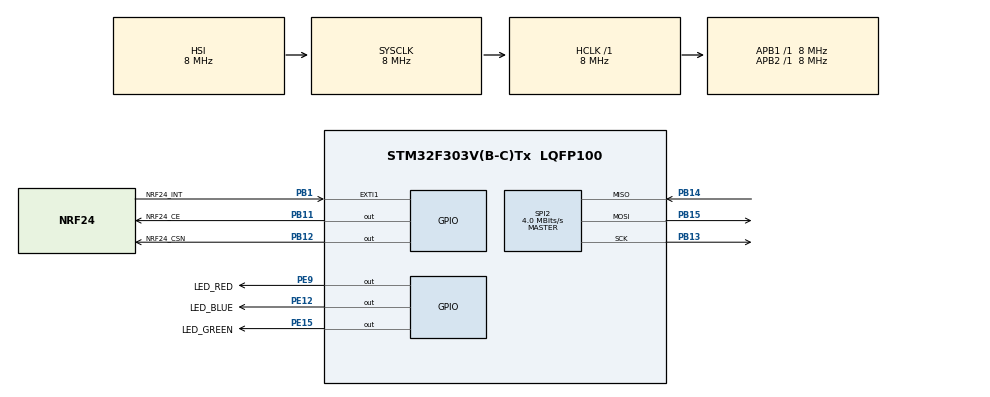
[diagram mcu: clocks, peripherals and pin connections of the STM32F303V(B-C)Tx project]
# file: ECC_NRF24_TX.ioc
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Mcu.Family=STM32F3
Mcu.Name=STM32F303V(B-C)Tx
Mcu.Package=LQFP100
NVIC.PriorityGroup=NVIC_PRIORITYGROUP_4
PB1.GPIO_Label=NRF24_INT
PB1.GPIO_PuPd=GPIO_PULLUP
PB1.Signal=GPXTI1
PB11.GPIO_Label=NRF24_CE
PB11.GPIO_PuPd=GPIO_PULLUP
PB11.GPIO_Speed=GPIO_SPEED_FREQ_HIGH
PB11.PinState=GPIO_PIN_SET
PB11.Signal=GPIO_Output
PB12.GPIO_Label=NRF24_CSN
PB12.GPIO_PuPd=GPIO_PULLUP
PB12.GPIO_Speed=GPIO_SPEED_FREQ_HIGH
PB12.PinState=GPIO_PIN_SET
PB12.Signal=GPIO_Output
PB13.Mode=Full_Duplex_Master
PB13.Signal=SPI2_SCK
PB14.Mode=Full_Duplex_Master
PB14.Signal=SPI2_MISO
PB15.Mode=Full_Duplex_Master
PB15.Signal=SPI2_MOSI
PE12.GPIO_Label=LED_BLUE
PE12.Signal=GPIO_Output
PE15.GPIO_Label=LED_GREEN
PE15.Signal=GPIO_Output
PE9.GPIO_Label=LED_RED
PE9.Signal=GPIO_Output
PF0-OSC_IN.Mode=HSE-External-Oscillator
PF0-OSC_IN.Signal=RCC_OSC_IN
PF1-OSC_OUT.Mode=HSE-External-Oscillator
PF1-OSC_OUT.Signal=RCC_OSC_OUT
ProjectManager.HeapSize=0x200
ProjectManager.StackSize=0x400
ProjectManager.TargetToolchain=SW4STM32
RCC.AHBFreq_Value=8000000
RCC.APB1Freq_Value=8000000
RCC.APB2Freq_Value=8000000
RCC.CortexFreq_Value=8000000
RCC.HSE_VALUE=8000000
RCC.HSI_VALUE=8000000
RCC.LSE_VALUE=32768
RCC.SYSCLKFreq_VALUE=8000000
SPI2.CalculateBaudRate=4.0 MBits/s
SPI2.Direction=SPI_DIRECTION_2LINES
SPI2.Mode=SPI_MODE_MASTER
SPI2.VirtualType=VM_MASTER
board=ECC_NRF24_TX

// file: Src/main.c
/**
  ******************************************************************************
  * File Name          : main.c
  * Description        : Main program body
  ******************************************************************************
  ** This notice applies to any and all portions of this file
  * that are not between comment pairs USER CODE BEGIN and
  * USER CODE END. Other portions of this file, whether
  * inserted by the user or by software development tools
  * are owned by their respective copyright owners.
  *
  * COPYRIGHT(c) 2017 STMicroelectronics
  *
  * Redistribution and use in source and binary forms, with or without modification,
  * are permitted provided that the following conditions are met:
  *   1. Redistributions of source code must retain the above copyright notice,
  *      this list of conditions and the following disclaimer.
  *   2. Redistributions in binary form must reproduce the above copyright notice,
  *      this list of conditions and the following disclaimer in the documentation
  *      and/or other materials provided with the distribution.
  *   3. Neither the name of STMicroelectronics nor the names of its contributors
  *      may be used to endorse or promote products derived from this software
  *      without specific prior written permission.
  *
  * THIS SOFTWARE IS PROVIDED BY THE COPYRIGHT HOLDERS AND CONTRIBUTORS "AS IS"
  * AND ANY EXPRESS OR IMPLIED WARRANTIES, INCLUDING, BUT NOT LIMITED TO, THE
  * IMPLIED WARRANTIES OF MERCHANTABILITY AND FITNESS FOR A PARTICULAR PURPOSE ARE
  * DISCLAIMED. IN NO EVENT SHALL THE COPYRIGHT HOLDER OR CONTRIBUTORS BE LIABLE
  * FOR ANY DIRECT, INDIRECT, INCIDENTAL, SPECIAL, EXEMPLARY, OR CONSEQUENTIAL
  * DAMAGES (INCLUDING, BUT NOT LIMITED TO, PROCUREMENT OF SUBSTITUTE GOODS OR
  * SERVICES; LOSS OF USE, DATA, OR PROFITS; OR BUSINESS INTERRUPTION) HOWEVER
  * CAUSED AND ON ANY THEORY OF LIABILITY, WHETHER IN CONTRACT, STRICT LIABILITY,
  * OR TORT (INCLUDING NEGLIGENCE OR OTHERWISE) ARISING IN ANY WAY OUT OF THE USE
  * OF THIS SOFTWARE, EVEN IF ADVISED OF THE POSSIBILITY OF SUCH DAMAGE.
  *
  ******************************************************************************
  */
#include "main.h"
#include "stm32f3xx_hal.h"
#include <stdbool.h>
/* USER CODE BEGIN Includes */
#include "nrf24_hal.h"
#include "nrf24.h"
#include "nrf24_app.h"
/* USER CODE END Includes */

SPI_HandleTypeDef hspi2;

/* USER CODE BEGIN PV */
/* Private variables ---------------------------------------------------------*/
volatile bool new_data;
/* USER CODE END PV */

void SystemClock_Config(void);
static void MX_GPIO_Init(void);
static void MX_SPI2_Init(void);

/* USER CODE BEGIN PFP */
/* Private function prototypes -----------------------------------------------*/

/* USER CODE END PFP */

/* USER CODE BEGIN 0 */
volatile bool wait_data;
nrf24_scenario_t scenario;
nrf24_role_t role;

void tx_cbk_func(nRF24_pipe_number_t pipe, uint8_t *buffer, uint8_t length, nrf24_tx_result_t status)
{
	if(scenario == NRF24_APP_SCENARIO_BIDIR_PLD_ACK)
	{
		if((role == NRF24_APP_ROLE_PTX) || (role == NRF24_APP_ROLE_PRX))
		{
			// only checking when last transmission was sent or not, no frame involved
			if(status == NRF24_APP_OK)
			{
				HAL_GPIO_TogglePin(GPIOD,GPIO_PIN_15);
			}
			else
			{
				HAL_GPIO_TogglePin(GPIOD,GPIO_PIN_14);
			}
		}
	}
	else if(scenario == NRF24_APP_SCENARIO_UNIDIR_ACK)
	{
		if(role == NRF24_APP_ROLE_PTX)
		{
			// only checking when last transmission was sent or not, no frame involved
			if(status == NRF24_APP_OK)
			{
				HAL_GPIO_TogglePin(GPIOD,GPIO_PIN_15);
			}
			else
			{
				HAL_GPIO_TogglePin(GPIOD,GPIO_PIN_14);
			}
		}
		else if(role == NRF24_APP_ROLE_PRX)
		{
			// auto ack enabled, no transmissions
		}
	}
}

void rx_cbk_func(nRF24_pipe_number_t pipe, uint8_t *buffer, uint8_t length, nrf24_tx_result_t status)
{
	if(scenario == NRF24_APP_SCENARIO_BIDIR_PLD_ACK)
	{
		if(role == NRF24_APP_ROLE_PTX)
		{
			// Checking PRX answer
			uint8_t n;
			bool result = true;

    		for(n = 0 ; n < 32 ; n++)
    		{
    			if(buffer[n] != 0xFF)
    			{
    				result = false;
    				break;
    			}
    		}

    		wait_data = false;

    		if(result)
    		{
    			HAL_GPIO_TogglePin(GPIOD,GPIO_PIN_12);
    		}
    		else
    		{
    			HAL_GPIO_TogglePin(GPIOD,GPIO_PIN_13);
    		}
		}
		else if(role == NRF24_APP_ROLE_PRX)
		{
			uint8_t n;
			// We need to answer a request, status does not matter. Buffer is reused.
    		for(n = 0 ; n < 32 ; n++)
    			buffer[n] = 0xFF;
		}
	}
	else if(scenario == NRF24_APP_SCENARIO_UNIDIR_ACK)
	{
		if(role == NRF24_APP_ROLE_PTX)
		{
			// no data arriving from PRX
		}
		else
		{
			// process your frame here, no ack required and no answer, unidir
   			HAL_GPIO_TogglePin(GPIOD,GPIO_PIN_15);
		}
	}
}

void run(nrf24_scenario_t _scenario, nrf24_role_t _role)
{
	uint8_t n;
	uint8_t buffer[32];

	if(_scenario == NRF24_APP_SCENARIO_BIDIR_PLD_ACK)
	{
	    if(_role == NRF24_APP_ROLE_PTX)
	    {
	    	while(true)
	    	{
	    		uint32_t tmr_out;

	    		for(n = 0 ; n < 32 ; n++)
	    			buffer[n] = 0x00;

	    		wait_data = true;
	    		//data_value = data_value + 1; // expected value

	    		nrf24_app_tx_data(buffer, 32);

	    		tmr_out = 20;
	    		while(wait_data && tmr_out > 0)
	    		{
	    			HAL_Delay(1);
	    			tmr_out--;
	    		}

	    		if(tmr_out == 0)
				{
	    			HAL_GPIO_WritePin(GPIOD,GPIO_PIN_14,GPIO_PIN_SET);
	    			HAL_Delay(50);
					HAL_GPIO_WritePin(GPIOD,GPIO_PIN_14,GPIO_PIN_RESET);
					HAL_Delay(50);
					HAL_GPIO_WritePin(GPIOD,GPIO_PIN_14,GPIO_PIN_SET);
					HAL_Delay(50);
					HAL_GPIO_WritePin(GPIOD,GPIO_PIN_14,GPIO_PIN_RESET);
				}

	    		HAL_Delay(50);
	    	}
	    }
	    else
	    {
			while(true)
			{
				// not to do here, all work is handled in interrupted mode
			}
	    }
	}
	else if(_scenario == NRF24_APP_SCENARIO_UNIDIR_ACK)
	{
	    if(_role == NRF24_APP_ROLE_PTX)
	    {
	    	while(true)
	    	{
	    		for(n = 0 ; n < 32 ; n++)
	    			buffer[n] = 0x00;

	    		nrf24_app_tx_data(buffer, 32);

	    		HAL_Delay(30);
	    	}
	    }
	    else
	    {
			while(true)
			{
				// not to do here, all work is handled in interrupted mode
			}
	    }
	}

}
/* USER CODE END 0 */

int main(void)
{

  /* MCU Configuration----------------------------------------------------------*/

  /* Reset of all peripherals, Initializes the Flash interface and the Systick. */
  HAL_Init();

  /* Configure the system clock */
  SystemClock_Config();

  /* Initialize all configured peripherals */
  MX_GPIO_Init();
  MX_SPI2_Init();

  /* Infinite loop */
  while (1)
  {

  /* USER CODE BEGIN 3 */
	role = NRF24_APP_ROLE_PTX;
	scenario = NRF24_APP_SCENARIO_BIDIR_PLD_ACK;
	nrf24_app_init(scenario, role, tx_cbk_func, rx_cbk_func);
	run(scenario,role);
  }
  /* USER CODE END 3 */

}

/** System Clock Configuration
*/
void SystemClock_Config(void)
{

  RCC_OscInitTypeDef RCC_OscInitStruct;
  RCC_ClkInitTypeDef RCC_ClkInitStruct;

    /**Initializes the CPU, AHB and APB busses clocks
    */
  RCC_OscInitStruct.OscillatorType = RCC_OSCILLATORTYPE_HSI;
  RCC_OscInitStruct.HSIState = RCC_HSI_ON;
  RCC_OscInitStruct.HSICalibrationValue = 16;
  RCC_OscInitStruct.PLL.PLLState = RCC_PLL_NONE;
  if (HAL_RCC_OscConfig(&RCC_OscInitStruct) != HAL_OK)
  {
    _Error_Handler(__FILE__, __LINE__);
  }

    /**Initializes the CPU, AHB and APB busses clocks
    */
  RCC_ClkInitStruct.ClockType = RCC_CLOCKTYPE_HCLK|RCC_CLOCKTYPE_SYSCLK
                              |RCC_CLOCKTYPE_PCLK1|RCC_CLOCKTYPE_PCLK2;
  RCC_ClkInitStruct.SYSCLKSource = RCC_SYSCLKSOURCE_HSI;
  RCC_ClkInitStruct.AHBCLKDivider = RCC_SYSCLK_DIV1;
  RCC_ClkInitStruct.APB1CLKDivider = RCC_HCLK_DIV1;
  RCC_ClkInitStruct.APB2CLKDivider = RCC_HCLK_DIV1;

  if (HAL_RCC_ClockConfig(&RCC_ClkInitStruct, FLASH_LATENCY_0) != HAL_OK)
  {
    _Error_Handler(__FILE__, __LINE__);
  }

    /**Configure the Systick interrupt time
    */
  HAL_SYSTICK_Config(HAL_RCC_GetHCLKFreq()/1000);

    /**Configure the Systick
    */
  HAL_SYSTICK_CLKSourceConfig(SYSTICK_CLKSOURCE_HCLK);

  /* SysTick_IRQn interrupt configuration */
  HAL_NVIC_SetPriority(SysTick_IRQn, 0, 0);
}

/* SPI2 init function */
static void MX_SPI2_Init(void)
{

  hspi2.Instance = SPI2;
  hspi2.Init.Mode = SPI_MODE_MASTER;
  hspi2.Init.Direction = SPI_DIRECTION_2LINES;
  hspi2.Init.DataSize = SPI_DATASIZE_4BIT;
  hspi2.Init.CLKPolarity = SPI_POLARITY_LOW;
  hspi2.Init.CLKPhase = SPI_PHASE_1EDGE;
  hspi2.Init.NSS = SPI_NSS_SOFT;
  hspi2.Init.BaudRatePrescaler = SPI_BAUDRATEPRESCALER_2;
  hspi2.Init.FirstBit = SPI_FIRSTBIT_MSB;
  hspi2.Init.TIMode = SPI_TIMODE_DISABLE;
  hspi2.Init.CRCCalculation = SPI_CRCCALCULATION_DISABLE;
  hspi2.Init.CRCPolynomial = 7;
  hspi2.Init.CRCLength = SPI_CRC_LENGTH_DATASIZE;
  hspi2.Init.NSSPMode = SPI_NSS_PULSE_ENABLE;
  if (HAL_SPI_Init(&hspi2) != HAL_OK)
  {
    _Error_Handler(__FILE__, __LINE__);
  }

}

/** Configure pins as
        * Analog
        * Input
        * Output
        * EVENT_OUT
        * EXTI
*/
static void MX_GPIO_Init(void)
{

  GPIO_InitTypeDef GPIO_InitStruct;

  /* GPIO Ports Clock Enable */
  __HAL_RCC_GPIOF_CLK_ENABLE();
  __HAL_RCC_GPIOB_CLK_ENABLE();
  __HAL_RCC_GPIOE_CLK_ENABLE();

  /*Configure GPIO pin Output Level */
  HAL_GPIO_WritePin(GPIOE, LED_RED_Pin|LED_BLUE_Pin|LED_GREEN_Pin, GPIO_PIN_RESET);

  /*Configure GPIO pin Output Level */
  HAL_GPIO_WritePin(GPIOB, NRF24_CE_Pin|NRF24_CSN_Pin, GPIO_PIN_SET);

  /*Configure GPIO pin : NRF24_INT_Pin */
  GPIO_InitStruct.Pin = NRF24_INT_Pin;
  GPIO_InitStruct.Mode = GPIO_MODE_IT_RISING;
  GPIO_InitStruct.Pull = GPIO_PULLUP;
  HAL_GPIO_Init(NRF24_INT_GPIO_Port, &GPIO_InitStruct);

  /*Configure GPIO pins : LED_RED_Pin LED_BLUE_Pin LED_GREEN_Pin */
  GPIO_InitStruct.Pin = LED_RED_Pin|LED_BLUE_Pin|LED_GREEN_Pin;
  GPIO_InitStruct.Mode = GPIO_MODE_OUTPUT_PP;
  GPIO_InitStruct.Pull = GPIO_NOPULL;
  GPIO_InitStruct.Speed = GPIO_SPEED_FREQ_LOW;
  HAL_GPIO_Init(GPIOE, &GPIO_InitStruct);

  /*Configure GPIO pins : NRF24_CE_Pin NRF24_CSN_Pin */
  GPIO_InitStruct.Pin = NRF24_CE_Pin|NRF24_CSN_Pin;
  GPIO_InitStruct.Mode = GPIO_MODE_OUTPUT_PP;
  GPIO_InitStruct.Pull = GPIO_PULLUP;
  GPIO_InitStruct.Speed = GPIO_SPEED_FREQ_HIGH;
  HAL_GPIO_Init(GPIOB, &GPIO_InitStruct);

}

void _Error_Handler(char * file, int line)
{
  while(1)
  {
  }
}

/************************ (C) COPYRIGHT STMicroelectronics *****END OF FILE****/
